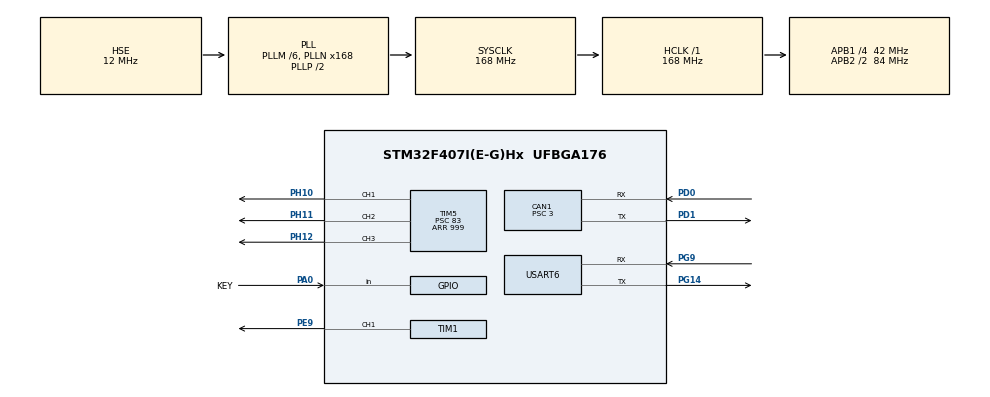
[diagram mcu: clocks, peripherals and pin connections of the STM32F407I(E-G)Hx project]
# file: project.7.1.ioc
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CAN1.BS1=CAN_BS1_10TQ
CAN1.BS2=CAN_BS2_3TQ
CAN1.CalculateBaudRate=1000000
CAN1.CalculateTimeBit=1000
CAN1.CalculateTimeQuantum=71.42857142857143
CAN1.Prescaler=3
FREERTOS.Tasks01=defaultTask,24,128,StartDefaultTask,Default,NULL,Dynamic,NULL,NULL;LedTask,24,128,StartLedTask,Default,NULL,Dynamic,NULL,NULL;MotorTask,32,256,StartMotorTask,Default,NULL,Dynamic,NULL,NULL;PrintTask,24,512,StartPrintTask,Default,NULL,Dynamic,NULL,NULL;KeyTask,24,128,StartKeyTask,Default,NULL,Dynamic,NULL,NULL;ServoTask,24,128,StartServoTask,Default,NULL,Dynamic,NULL,NULL;UartTask,24,128,StartUartTask,Default,NULL,Dynamic,NULL,NULL
Mcu.Family=STM32F4
Mcu.Name=STM32F407I(E-G)Hx
Mcu.Package=UFBGA176
NVIC.CAN1_RX0_IRQn=true\:5\:0\:false\:false\:true\:true\:true\:true\:true
NVIC.PriorityGroup=NVIC_PRIORITYGROUP_4
NVIC.TIM6_DAC_IRQn=true\:15\:0\:false\:false\:true\:false\:false\:true\:true
NVIC.TimeBase=TIM6_DAC_IRQn
NVIC.TimeBaseIP=TIM6
NVIC.USART6_IRQn=true\:5\:0\:false\:false\:true\:true\:true\:true\:true
PA0-WKUP.GPIO_Label=KEY
PA0-WKUP.GPIO_PuPd=GPIO_PULLUP
PA0-WKUP.Signal=GPIO_Input
PA13.Mode=Serial_Wire
PA13.Signal=SYS_JTMS-SWDIO
PA14.Mode=Serial_Wire
PA14.Signal=SYS_JTCK-SWCLK
PD0.Mode=CAN_Activate
PD0.Signal=CAN1_RX
PD1.Mode=CAN_Activate
PD1.Signal=CAN1_TX
PE9.Signal=S_TIM1_CH1
PG14.Mode=Asynchronous
PG14.Signal=USART6_TX
PG9.Mode=Asynchronous
PG9.Signal=USART6_RX
PH0-OSC_IN.Mode=HSE-External-Oscillator
PH0-OSC_IN.Signal=RCC_OSC_IN
PH1-OSC_OUT.Mode=HSE-External-Oscillator
PH1-OSC_OUT.Signal=RCC_OSC_OUT
PH10.Signal=S_TIM5_CH1
PH11.Signal=S_TIM5_CH2
PH12.Signal=S_TIM5_CH3
ProjectManager.HeapSize=0x200
ProjectManager.StackSize=0x400
ProjectManager.TargetToolchain=CMake
RCC.48MHZClocksFreq_Value=84000000
RCC.AHBFreq_Value=168000000
RCC.APB1CLKDivider=RCC_HCLK_DIV4
RCC.APB1Freq_Value=42000000
RCC.APB1TimFreq_Value=84000000
RCC.APB2CLKDivider=RCC_HCLK_DIV2
RCC.APB2Freq_Value=84000000
RCC.APB2TimFreq_Value=168000000
RCC.CortexFreq_Value=168000000
RCC.HCLKFreq_Value=168000000
RCC.HSE_VALUE=12000000
RCC.HSI_VALUE=16000000
RCC.LSE_VALUE=32768
RCC.PLLM=6
RCC.PLLN=168
RCC.PLLSourceVirtual=RCC_PLLSOURCE_HSE
RCC.SYSCLKFreq_VALUE=168000000
RCC.SYSCLKSource=RCC_SYSCLKSOURCE_PLLCLK
RCC.VCOOutputFreq_Value=336000000
SH.S_TIM1_CH1.0=TIM1_CH1,PWM Generation1 CH1
SH.S_TIM5_CH1.0=TIM5_CH1,PWM Generation1 CH1
SH.S_TIM5_CH2.0=TIM5_CH2,PWM Generation2 CH2
SH.S_TIM5_CH3.0=TIM5_CH3,PWM Generation3 CH3
TIM1.Channel-PWM\ Generation1\ CH1=TIM_CHANNEL_1
TIM1.Period=19999
TIM1.Prescaler=167
TIM5.Channel-PWM\ Generation1\ CH1=TIM_CHANNEL_1
TIM5.Channel-PWM\ Generation2\ CH2=TIM_CHANNEL_2
TIM5.Channel-PWM\ Generation3\ CH3=TIM_CHANNEL_3
TIM5.Period=999
TIM5.Prescaler=83
USART6.VirtualMode=VM_ASYNC
VP_FREERTOS_VS_CMSIS_V2.Mode=CMSIS_V2
VP_SYS_VS_tim6.Mode=TIM6
board=custom

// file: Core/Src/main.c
/* USER CODE BEGIN Header */
/**
  ******************************************************************************
  * @file           : main.c
  * @brief          : Main program body
  ******************************************************************************
  * @attention
  *
  * Copyright (c) 2026 STMicroelectronics.
  * All rights reserved.
  *
  * This software is licensed under terms that can be found in the LICENSE file
  * in the root directory of this software component.
  * If no LICENSE file comes with this software, it is provided AS-IS.
  *
  ******************************************************************************
  */
/* USER CODE END Header */
#include "main.h"
#include "cmsis_os.h"
#include "can.h"
#include "tim.h"
#include "usart.h"
#include "gpio.h"

/* USER CODE BEGIN Includes */
#include "motor6020.h"

/* USER CODE END Includes */

void SystemClock_Config(void);
void MX_FREERTOS_Init(void);

int main(void)
{

  /* MCU Configuration--------------------------------------------------------*/

  /* Reset of all peripherals, Initializes the Flash interface and the Systick. */
  HAL_Init();

  /* Configure the system clock */
  SystemClock_Config();

  /* Initialize all configured peripherals */
  MX_GPIO_Init();
  MX_TIM1_Init();
  MX_TIM5_Init();
  MX_USART6_UART_Init();
  MX_CAN1_Init();
  /* USER CODE BEGIN 2 */

  HAL_TIM_PWM_Start(&htim5, LED_BLUE_CH);
  HAL_TIM_PWM_Start(&htim5, LED_GREEN_CH);
  HAL_TIM_PWM_Start(&htim5, LED_RED_CH);

  HAL_TIM_PWM_Start(&htim1, TIM_CHANNEL_1);
  __HAL_TIM_SET_COMPARE(&htim1, TIM_CHANNEL_1, 1500);

  Motor6020_Init(&hcan1);

  /* USER CODE END 2 */

  /* Init scheduler */
  osKernelInitialize();  /* Call init function for freertos objects (in cmsis_os2.c) */
  MX_FREERTOS_Init();

  /* Start scheduler */
  osKernelStart();

  /* We should never get here as control is now taken by the scheduler */

  /* Infinite loop */
  while (1)
  {

  }
}

void SystemClock_Config(void)
{
  RCC_OscInitTypeDef RCC_OscInitStruct = {0};
  RCC_ClkInitTypeDef RCC_ClkInitStruct = {0};

  /** Configure the main internal regulator output voltage
  */
  __HAL_RCC_PWR_CLK_ENABLE();
  __HAL_PWR_VOLTAGESCALING_CONFIG(PWR_REGULATOR_VOLTAGE_SCALE1);

  /** Initializes the RCC Oscillators according to the specified parameters
  * in the RCC_OscInitTypeDef structure.
  */
  RCC_OscInitStruct.OscillatorType = RCC_OSCILLATORTYPE_HSE;
  RCC_OscInitStruct.HSEState = RCC_HSE_ON;
  RCC_OscInitStruct.PLL.PLLState = RCC_PLL_ON;
  RCC_OscInitStruct.PLL.PLLSource = RCC_PLLSOURCE_HSE;
  RCC_OscInitStruct.PLL.PLLM = 6;
  RCC_OscInitStruct.PLL.PLLN = 168;
  RCC_OscInitStruct.PLL.PLLP = RCC_PLLP_DIV2;
  RCC_OscInitStruct.PLL.PLLQ = 4;
  if (HAL_RCC_OscConfig(&RCC_OscInitStruct) != HAL_OK)
  {
    Error_Handler();
  }

  /** Initializes the CPU, AHB and APB buses clocks
  */
  RCC_ClkInitStruct.ClockType = RCC_CLOCKTYPE_HCLK|RCC_CLOCKTYPE_SYSCLK
                              |RCC_CLOCKTYPE_PCLK1|RCC_CLOCKTYPE_PCLK2;
  RCC_ClkInitStruct.SYSCLKSource = RCC_SYSCLKSOURCE_PLLCLK;
  RCC_ClkInitStruct.AHBCLKDivider = RCC_SYSCLK_DIV1;
  RCC_ClkInitStruct.APB1CLKDivider = RCC_HCLK_DIV4;
  RCC_ClkInitStruct.APB2CLKDivider = RCC_HCLK_DIV2;

  if (HAL_RCC_ClockConfig(&RCC_ClkInitStruct, FLASH_LATENCY_5) != HAL_OK)
  {
    Error_Handler();
  }
}

void HAL_TIM_PeriodElapsedCallback(TIM_HandleTypeDef *htim)
{
  if (htim->Instance == TIM6)
  {
    HAL_IncTick();
  }
}

void Error_Handler(void)
{
  __disable_irq();
  while (1)
  {
  }
}

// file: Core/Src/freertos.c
/* USER CODE BEGIN Header */
/**
  ******************************************************************************
  * File Name          : freertos.c
  * Description        : Code for freertos applications
  ******************************************************************************
  * @attention
  *
  * Copyright (c) 2026 STMicroelectronics.
  * All rights reserved.
  *
  * This software is licensed under terms that can be found in the LICENSE file
  * in the root directory of this software component.
  * If no LICENSE file comes with this software, it is provided AS-IS.
  *
  ******************************************************************************
  */
/* USER CODE END Header */

#include "FreeRTOS.h"
#include "task.h"
#include "main.h"
#include "cmsis_os.h"

/* USER CODE BEGIN Includes */
#include <stdio.h>
#include <stdlib.h>
#include <string.h>

#include "usart.h"
#include "motor6020.h"
#include "pid.h"
#include "can.h"
#include "tim.h"
/* USER CODE END Includes */

/* USER CODE BEGIN Variables */
volatile float   g_target_rpm   = 0.0f;
float            g_actual_rpm   = 0.0f;
volatile float   g_servo_deg    = 90.0f;
volatile uint8_t g_motor_online = 0;

pid_t g_pid;
/* USER CODE END Variables */
/* Definitions for defaultTask */
osThreadId_t defaultTaskHandle;
const osThreadAttr_t defaultTask_attributes = {
  .name = "defaultTask",
  .stack_size = 128 * 4,
  .priority = (osPriority_t) osPriorityNormal,
};
/* Definitions for LedTask */
osThreadId_t LedTaskHandle;
const osThreadAttr_t LedTask_attributes = {
  .name = "LedTask",
  .stack_size = 128 * 4,
  .priority = (osPriority_t) osPriorityNormal,
};
/* Definitions for MotorTask */
osThreadId_t MotorTaskHandle;
const osThreadAttr_t MotorTask_attributes = {
  .name = "MotorTask",
  .stack_size = 256 * 4,
  .priority = (osPriority_t) osPriorityAboveNormal,
};
/* Definitions for PrintTask */
osThreadId_t PrintTaskHandle;
const osThreadAttr_t PrintTask_attributes = {
  .name = "PrintTask",
  .stack_size = 512 * 4,
  .priority = (osPriority_t) osPriorityNormal,
};
/* Definitions for KeyTask */
osThreadId_t KeyTaskHandle;
const osThreadAttr_t KeyTask_attributes = {
  .name = "KeyTask",
  .stack_size = 128 * 4,
  .priority = (osPriority_t) osPriorityNormal,
};
/* Definitions for ServoTask */
osThreadId_t ServoTaskHandle;
const osThreadAttr_t ServoTask_attributes = {
  .name = "ServoTask",
  .stack_size = 128 * 4,
  .priority = (osPriority_t) osPriorityNormal,
};
/* Definitions for UartTask */
osThreadId_t UartTaskHandle;
const osThreadAttr_t UartTask_attributes = {
  .name = "UartTask",
  .stack_size = 128 * 4,
  .priority = (osPriority_t) osPriorityNormal,
};

void StartDefaultTask(void *argument);
void StartLedTask(void *argument);
void StartMotorTask(void *argument);
void StartPrintTask(void *argument);
void StartKeyTask(void *argument);
void StartServoTask(void *argument);
void StartUartTask(void *argument);

void MX_FREERTOS_Init(void); /* (MISRA C 2004 rule 8.1) */

void MX_FREERTOS_Init(void) {

  /* Create the thread(s) */
  /* creation of defaultTask */
  defaultTaskHandle = osThreadNew(StartDefaultTask, NULL, &defaultTask_attributes);

  /* creation of LedTask */
  LedTaskHandle = osThreadNew(StartLedTask, NULL, &LedTask_attributes);

  /* creation of MotorTask */
  MotorTaskHandle = osThreadNew(StartMotorTask, NULL, &MotorTask_attributes);

  /* creation of PrintTask */
  PrintTaskHandle = osThreadNew(StartPrintTask, NULL, &PrintTask_attributes);

  /* creation of KeyTask */
  KeyTaskHandle = osThreadNew(StartKeyTask, NULL, &KeyTask_attributes);

  /* creation of ServoTask */
  ServoTaskHandle = osThreadNew(StartServoTask, NULL, &ServoTask_attributes);

  /* creation of UartTask */
  UartTaskHandle = osThreadNew(StartUartTask, NULL, &UartTask_attributes);

}

void StartDefaultTask(void *argument)
{
  for(;;)
  {
    osDelay(1);
  }
}

void StartLedTask(void *argument)
{
  /* USER CODE BEGIN StartLedTask */
  /* Infinite loop */
  uint16_t pwm = 0;
  uint8_t  up  = 1;
  (void)argument;

  for(;;)
  {
    if (g_motor_online)
    {
      __HAL_TIM_SET_COMPARE(&htim5, LED_GREEN_CH, 1000);
      __HAL_TIM_SET_COMPARE(&htim5, LED_RED_CH,   0);
    }
    else
    {
      __HAL_TIM_SET_COMPARE(&htim5, LED_GREEN_CH, 0);

      if (up) { pwm += 20; if (pwm >= 1000) up = 0; }
      else    { pwm -= 20; if (pwm <= 0)    up = 1; }

      __HAL_TIM_SET_COMPARE(&htim5, LED_RED_CH, pwm);
    }

    osDelay(20);
  }
  /* USER CODE END StartLedTask */
}

void StartMotorTask(void *argument)
{
  /* USER CODE BEGIN StartMotorTask */
  float   speed;
  int16_t volt;

  (void)argument;

  PID_Init(&g_pid, 0.2f, 20.0f, 0.0f, 30000.0f, -30000.0f);

  for(;;)
  {

    speed = Motor6020_GetSpeed(1);
    g_actual_rpm = speed;

    g_pid.target = g_target_rpm;
    volt = (int16_t)PID_Calc(&g_pid, speed);

    Motor6020_SetVolt(1, volt);

    Motor6020_UpdateOnline(100);
    g_motor_online = Motor6020_GetState(1)->online;

    osDelay(1);
  }
  /* USER CODE END StartMotorTask */
}

void StartPrintTask(void *argument)
{
  /* USER CODE BEGIN StartPrintTask */
  /* Infinite loop */
  char buf[48];
  int  n;
  int  s10;
  (void)argument;

  for(;;) {

    s10 = (int)(g_actual_rpm * 10.0f);

    n = snprintf(buf, sizeof(buf), "rpm=%d.%d online=%d\r\n",
                 s10 / 10, (s10 < 0 ? -s10 : s10) % 10,
                 g_motor_online);

    if (n > 0)
    {
      HAL_UART_Transmit(&huart6, (uint8_t *)buf, (uint16_t)n, 100);
    }

    osDelay(2000);
  }
  /* USER CODE END StartPrintTask */
}

void StartKeyTask(void *argument)
{
  /* USER CODE BEGIN StartKeyTask */
    /* Infinite loop */
  uint8_t last = 1;
  uint8_t now;
  (void)argument;

  for(;;)
  {
    now = HAL_GPIO_ReadPin(KEY_GPIO_Port, KEY_Pin);

    if (last == 1 && now == 0)
    {
      g_servo_deg += 20.0f;
      if (g_servo_deg > 180.0f)
      {
        g_servo_deg = 0.0f;
      }
    }

    last = now;
    osDelay(20);
  }
  /* USER CODE END StartKeyTask */
}

void StartServoTask(void *argument)
{
  /* USER CODE BEGIN StartServoTask */
  uint32_t ccr;
  (void)argument;

  __HAL_TIM_SET_COMPARE(&htim1, TIM_CHANNEL_1, 1500);
  osDelay(500);
  for(;;)
  {
    ccr = (uint32_t)(500.0f + g_servo_deg / 180.0f * 2000.0f);
    __HAL_TIM_SET_COMPARE(&htim1, TIM_CHANNEL_1, ccr);
    osDelay(50);
  }
  /* USER CODE END StartServoTask */
}

void StartUartTask(void *argument)
{
  /* USER CODE BEGIN StartUartTask */
    /* Infinite loop */
    uint8_t ch;
    char    buf[16];
    uint8_t len = 0;
    (void)argument;

    for(;;)
    {
      if (HAL_UART_Receive(&huart6, &ch, 1, 5) == HAL_OK)
      {
        if (ch == '\n')
        {
          buf[len] = '\0';

          if (strncmp(buf, "motor", 5) == 0)
          {
            g_target_rpm = (float)atoi(&buf[5]);
          }

          len = 0;
        }
        else if (ch != '\r' && len < 15)
        {
          buf[len++] = ch;
        }
      }
      else
      {
        len = 0;
      }
      osDelay(2);
    }
  /* USER CODE END StartUartTask */
}
